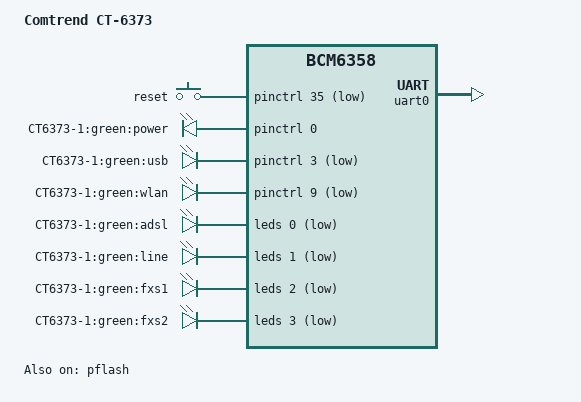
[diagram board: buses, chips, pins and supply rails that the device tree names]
/dts-v1/;

#include "bcm6358.dtsi"

#include <dt-bindings/input/input.h>

/ {
	model = "Comtrend CT-6373";
	compatible = "comtrend,ct-6373", "brcm,bcm6358";

	chosen {
		bootargs = "rootfstype=squashfs,jffs2 noinitrd console=ttyS0,115200";
		stdout-path = "serial0:115200n8";
	};

	keys {
		compatible = "gpio-keys-polled";
		#address-cells = <1>;
		#size-cells = <0>;
		poll-interval = <20>;

		reset {
			label = "reset";
			gpios = <&pinctrl 35 1>;
			linux,code = <KEY_RESTART>;
			debounce-interval = <60>;
		};
	};

	leds {
		compatible = "gpio-leds";

		power_green {
			label = "CT6373-1:green:power";
			gpios = <&pinctrl 0 0>;
			default-state = "on";
		};
		usb_green {
			label = "CT6373-1:green:usb";
			gpios = <&pinctrl 3 1>;
		};
		wlan_green {
			label = "CT6373-1:green:wlan";
			gpios = <&pinctrl 9 1>;
		};
	};
};

&leds {
	status = "ok";

	pinctrl-names = "default";
	pinctrl-0 = <&pinctrl_serial_led>;

	led@0 {
		reg = <0>;
		active-low;
		label = "CT6373-1:green:adsl";
	};

	led@1 {
		reg = <1>;
		active-low;
		label = "CT6373-1:green:line";
	};

	led@2 {
		reg = <2>;
		active-low;
		label = "CT6373-1:green:fxs1";
	};

	led@3 {
		reg = <3>;
		active-low;
		label = "CT6373-1:green:fxs2";
	};
};

&pflash {
	status = "ok";

	partitions {
		compatible = "fixed-partitions";
		#address-cells = <1>;
		#size-cells = <1>;

		cfe@0 {
			label = "CFE";
			reg = <0x000000 0x010000>;
			read-only;
		};

		linux@10000 {
			label = "linux";
			reg = <0x010000 0x7e0000>;
			compatible = "brcm,bcm963xx-imagetag";
		};

		nvram@7f0000 {
			label = "nvram";
			reg = <0x7f0000 0x010000>;
		};
	};
};

&uart0 {
	status = "ok";
};
